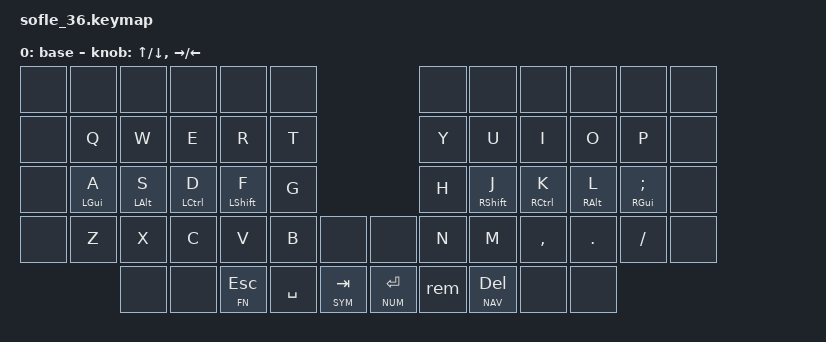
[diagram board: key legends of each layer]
#include <behaviors.dtsi>
#include <dt-bindings/zmk/bt.h>
#include <dt-bindings/zmk/keys.h>
#include <dt-bindings/zmk/ext_power.h>
#include <dt-bindings/zmk/rgb.h>
#include <dt-bindings/zmk/outputs.h>

#include "../../../layers/sofle/names.h"
#include "../../../layouts/sofle.h"
#include "../../../settings/timings.h"

#include "../../../settings/overrides.dtsi"
#include "../../../settings/sofle.dtsi"

#include "../../../custom/hrm.dtsi"
#include "../../../custom/mod_morphs.dtsi"
#include "../../../custom/combos.dtsi"

/ {
    keymap {
        compatible = "zmk,keymap";

        base {
            display-name = "base";
            bindings = <
&none          &none          &none         &none         &none          &none                                          &none           &none           &none         &none            &none            &none
&none          &kp Q          &kp W         &kp E         &kp R          &kp T                                          &kp Y           &kp U           &kp I         &kp O            &kp P            &none
&none          &hml LGUI A    &hml LALT S   &hml LCTRL D  &hml LSHFT F   &kp G                                          &kp H           &hmr RSHFT J    &hmr RCTRL K  &hmr RALT L      &hmr RGUI SEMI   &none
&none          &kp Z          &kp X         &kp C         &kp V          &kp B             &none          &none         &kp N           &kp M           &kp COMMA     &kp DOT          &kp FSLH         &none
                              &none         &none         &lt FN ESC     &kp SPACE         &lt SYM TAB    &lt NUM RET   &rem            &lt NAV DEL     &none         &none  
            >;

            sensor-bindings = <&inc_dec_kp UP DOWN &inc_dec_kp RIGHT LEFT >;
        };
    };
};

#include "../../../layers/sofle/nav.dtsi"    
#include "../../../layers/sofle/num.dtsi"    
#include "../../../layers/sofle/fn.dtsi"        
#include "../../../layers/sofle/sym.dtsi"    
#include "../../../layers/sofle/hub.dtsi"
#include "../../../layers/sofle/sys.dtsi"
#include "../../../layers/sofle/uni.dtsi"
